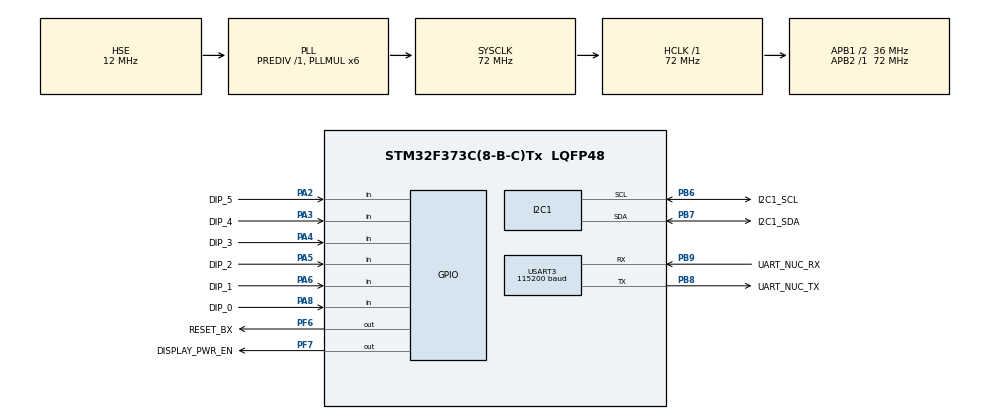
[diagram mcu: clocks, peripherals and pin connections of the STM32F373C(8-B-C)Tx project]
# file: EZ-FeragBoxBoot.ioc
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Mcu.Family=STM32F3
Mcu.Name=STM32F373C(8-B-C)Tx
Mcu.Package=LQFP48
NVIC.PriorityGroup=NVIC_PRIORITYGROUP_4
NVIC.RCC_IRQn=true\:0\:0\:false\:false\:true\:true\:false\:true
NVIC.USART3_IRQn=true\:0\:0\:false\:false\:true\:true\:true\:true
PA13.Mode=Serial_Wire
PA13.Signal=SYS_JTMS-SWDIO
PA14.Mode=Serial_Wire
PA14.Signal=SYS_JTCK-SWCLK
PA2.GPIO_Label=DIP_5
PA2.Signal=GPIO_Input
PA3.GPIO_Label=DIP_4
PA3.Signal=GPIO_Input
PA4.GPIO_Label=DIP_3
PA4.Signal=GPIO_Input
PA5.GPIO_Label=DIP_2
PA5.Signal=GPIO_Input
PA6.GPIO_Label=DIP_1
PA6.Signal=GPIO_Input
PA8.GPIO_Label=DIP_0
PA8.Signal=GPIO_Input
PB6.GPIO_Label=I2C1_SCL
PB6.Mode=I2C
PB6.Signal=I2C1_SCL
PB7.GPIO_Label=I2C1_SDA
PB7.Mode=I2C
PB7.Signal=I2C1_SDA
PB8.GPIO_Label=UART_NUC_TX
PB8.Mode=Asynchronous
PB8.Signal=USART3_TX
PB9.GPIO_Label=UART_NUC_RX
PB9.Mode=Asynchronous
PB9.Signal=USART3_RX
PF0-OSC_IN.Mode=HSE-External-Oscillator
PF0-OSC_IN.Signal=RCC_OSC_IN
PF1-OSC_OUT.Mode=HSE-External-Oscillator
PF1-OSC_OUT.Signal=RCC_OSC_OUT
PF6.GPIO_Label=RESET_BX
PF6.Signal=GPIO_Output
PF7.GPIO_Label=DISPLAY_PWR_EN
PF7.PinState=GPIO_PIN_SET
PF7.Signal=GPIO_Output
ProjectManager.HeapSize=0x200
ProjectManager.StackSize=0x400
ProjectManager.TargetToolchain=STM32CubeIDE
RCC.AHBFreq_Value=72000000
RCC.APB1CLKDivider=RCC_HCLK_DIV2
RCC.APB1Freq_Value=36000000
RCC.APB1TimFreq_Value=72000000
RCC.APB2Freq_Value=72000000
RCC.APB2TimFreq_Value=72000000
RCC.CortexFreq_Value=72000000
RCC.HCLKFreq_Value=72000000
RCC.HSE_VALUE=12000000
RCC.HSI_VALUE=8000000
RCC.LSE_VALUE=32768
RCC.PLLMUL=RCC_PLL_MUL6
RCC.PLLSourceVirtual=RCC_PLLSOURCE_HSE
RCC.PRESCALERUSB=RCC_USBCLKSOURCE_PLL_DIV1_5
RCC.SYSCLKFreq_VALUE=72000000
RCC.SYSCLKSource=RCC_SYSCLKSOURCE_PLLCLK
RCC.USBFreq_Value=48000000
USART3.BaudRate=115200
USART3.VirtualMode-Asynchronous=VM_ASYNC
VP_TIM3_VS_ClockSourceINT.Mode=Internal
board=custom

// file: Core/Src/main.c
/* USER CODE BEGIN Header */
/**
  ******************************************************************************
  * @file           : main.c
  * @brief          : Main program body
  ******************************************************************************
  * @attention
  *
  * Copyright (c) 2024 STMicroelectronics.
  * All rights reserved.
  *
  * This software is licensed under terms that can be found in the LICENSE file
  * in the root directory of this software component.
  * If no LICENSE file comes with this software, it is provided AS-IS.
  *
  ******************************************************************************
  */
/* USER CODE END Header */
#include "main.h"

/* USER CODE BEGIN Includes */
#include <stdarg.h>
#include <stdio.h>
#include "ge_common.h"
#include "term.h"
/* USER CODE END Includes */

I2C_HandleTypeDef hi2c1;

TIM_HandleTypeDef htim3;

UART_HandleTypeDef huart3;

/* USER CODE BEGIN PV */
volatile uint8_t RxDataNUC;

/* USER CODE END PV */

void SystemClock_Config(void);
static void MX_GPIO_Init(void);
static void MX_USART3_UART_Init(void);
static void MX_I2C1_Init(void);
static void MX_TIM3_Init(void);

int main(void)
{

  /* USER CODE BEGIN 1 */
  SCB->VTOR = 0x8000000;
  /* USER CODE END 1 */

  /* MCU Configuration--------------------------------------------------------*/

  /* Reset of all peripherals, Initializes the Flash interface and the Systick. */
  HAL_Init();

  /* Configure the system clock */
  SystemClock_Config();

  /* Initialize all configured peripherals */
  MX_GPIO_Init();
  MX_USART3_UART_Init();
  MX_I2C1_Init();
  MX_TIM3_Init();
  /* USER CODE BEGIN 2 */

  term_init();
  HAL_UART_Receive_IT(&huart3, (uint8_t*)&RxDataNUC, 1);
  __enable_irq();
  nuc_printf("BootLoader Running\n");
  /* USER CODE END 2 */

  /* Infinite loop */
  /* USER CODE BEGIN WHILE */
  int _ticks=0;
  while (1)
  {
    /* USER CODE END WHILE */

    /* USER CODE BEGIN 3 */
	  term_idle();
  }
  /* USER CODE END 3 */
}

void SystemClock_Config(void)
{
  RCC_OscInitTypeDef RCC_OscInitStruct = {0};
  RCC_ClkInitTypeDef RCC_ClkInitStruct = {0};
  RCC_PeriphCLKInitTypeDef PeriphClkInit = {0};

  /** Initializes the RCC Oscillators according to the specified parameters
  * in the RCC_OscInitTypeDef structure.
  */
  RCC_OscInitStruct.OscillatorType = RCC_OSCILLATORTYPE_HSI|RCC_OSCILLATORTYPE_HSE;
  RCC_OscInitStruct.HSEState = RCC_HSE_ON;
  RCC_OscInitStruct.HSEPredivValue = RCC_HSE_PREDIV_DIV1;
  RCC_OscInitStruct.HSIState = RCC_HSI_ON;
  RCC_OscInitStruct.HSICalibrationValue = RCC_HSICALIBRATION_DEFAULT;
  RCC_OscInitStruct.PLL.PLLState = RCC_PLL_ON;
  RCC_OscInitStruct.PLL.PLLSource = RCC_PLLSOURCE_HSE;
  RCC_OscInitStruct.PLL.PLLMUL = RCC_PLL_MUL6;
  if (HAL_RCC_OscConfig(&RCC_OscInitStruct) != HAL_OK)
  {
    Error_Handler();
  }

  /** Initializes the CPU, AHB and APB buses clocks
  */
  RCC_ClkInitStruct.ClockType = RCC_CLOCKTYPE_HCLK|RCC_CLOCKTYPE_SYSCLK
                              |RCC_CLOCKTYPE_PCLK1|RCC_CLOCKTYPE_PCLK2;
  RCC_ClkInitStruct.SYSCLKSource = RCC_SYSCLKSOURCE_PLLCLK;
  RCC_ClkInitStruct.AHBCLKDivider = RCC_SYSCLK_DIV1;
  RCC_ClkInitStruct.APB1CLKDivider = RCC_HCLK_DIV2;
  RCC_ClkInitStruct.APB2CLKDivider = RCC_HCLK_DIV1;

  if (HAL_RCC_ClockConfig(&RCC_ClkInitStruct, FLASH_LATENCY_2) != HAL_OK)
  {
    Error_Handler();
  }
  PeriphClkInit.PeriphClockSelection = RCC_PERIPHCLK_USART3|RCC_PERIPHCLK_I2C1;
  PeriphClkInit.Usart3ClockSelection = RCC_USART3CLKSOURCE_PCLK1;
  PeriphClkInit.I2c1ClockSelection = RCC_I2C1CLKSOURCE_HSI;
  if (HAL_RCCEx_PeriphCLKConfig(&PeriphClkInit) != HAL_OK)
  {
    Error_Handler();
  }
}

static void MX_I2C1_Init(void)
{

  hi2c1.Instance = I2C1;
  hi2c1.Init.Timing = 0x2000090E;
  hi2c1.Init.OwnAddress1 = 0;
  hi2c1.Init.AddressingMode = I2C_ADDRESSINGMODE_7BIT;
  hi2c1.Init.DualAddressMode = I2C_DUALADDRESS_DISABLE;
  hi2c1.Init.OwnAddress2 = 0;
  hi2c1.Init.OwnAddress2Masks = I2C_OA2_NOMASK;
  hi2c1.Init.GeneralCallMode = I2C_GENERALCALL_DISABLE;
  hi2c1.Init.NoStretchMode = I2C_NOSTRETCH_DISABLE;
  if (HAL_I2C_Init(&hi2c1) != HAL_OK)
  {
    Error_Handler();
  }

  /** Configure Analogue filter
  */
  if (HAL_I2CEx_ConfigAnalogFilter(&hi2c1, I2C_ANALOGFILTER_ENABLE) != HAL_OK)
  {
    Error_Handler();
  }

  /** Configure Digital filter
  */
  if (HAL_I2CEx_ConfigDigitalFilter(&hi2c1, 0) != HAL_OK)
  {
    Error_Handler();
  }

}

static void MX_TIM3_Init(void)
{

  TIM_ClockConfigTypeDef sClockSourceConfig = {0};
  TIM_MasterConfigTypeDef sMasterConfig = {0};

  htim3.Instance = TIM3;
  htim3.Init.Prescaler = 0;
  htim3.Init.CounterMode = TIM_COUNTERMODE_UP;
  htim3.Init.Period = 65535;
  htim3.Init.ClockDivision = TIM_CLOCKDIVISION_DIV1;
  htim3.Init.AutoReloadPreload = TIM_AUTORELOAD_PRELOAD_DISABLE;
  if (HAL_TIM_Base_Init(&htim3) != HAL_OK)
  {
    Error_Handler();
  }
  sClockSourceConfig.ClockSource = TIM_CLOCKSOURCE_INTERNAL;
  if (HAL_TIM_ConfigClockSource(&htim3, &sClockSourceConfig) != HAL_OK)
  {
    Error_Handler();
  }
  sMasterConfig.MasterOutputTrigger = TIM_TRGO_RESET;
  sMasterConfig.MasterSlaveMode = TIM_MASTERSLAVEMODE_DISABLE;
  if (HAL_TIMEx_MasterConfigSynchronization(&htim3, &sMasterConfig) != HAL_OK)
  {
    Error_Handler();
  }
  /* USER CODE BEGIN TIM3_Init 2 */
	if (HAL_TIM_Base_Start_IT(&htim3) != HAL_OK) {
		Error_Handler();
	}
	HAL_TIM_Base_Start(&htim3);
  /* USER CODE END TIM3_Init 2 */

}

static void MX_USART3_UART_Init(void)
{

  huart3.Instance = USART3;
  huart3.Init.BaudRate = 115200;
  huart3.Init.WordLength = UART_WORDLENGTH_8B;
  huart3.Init.StopBits = UART_STOPBITS_1;
  huart3.Init.Parity = UART_PARITY_NONE;
  huart3.Init.Mode = UART_MODE_TX_RX;
  huart3.Init.HwFlowCtl = UART_HWCONTROL_NONE;
  huart3.Init.OverSampling = UART_OVERSAMPLING_16;
  huart3.Init.OneBitSampling = UART_ONE_BIT_SAMPLE_DISABLE;
  huart3.AdvancedInit.AdvFeatureInit = UART_ADVFEATURE_NO_INIT;
  if (HAL_UART_Init(&huart3) != HAL_OK)
  {
    Error_Handler();
  }

}

static void MX_GPIO_Init(void)
{
  GPIO_InitTypeDef GPIO_InitStruct = {0};

  /* GPIO Ports Clock Enable */
  __HAL_RCC_GPIOF_CLK_ENABLE();
  __HAL_RCC_GPIOA_CLK_ENABLE();
  __HAL_RCC_GPIOB_CLK_ENABLE();

  /*Configure GPIO pin Output Level */
  HAL_GPIO_WritePin(RESET_BX_GPIO_Port, RESET_BX_Pin, GPIO_PIN_RESET);

  /*Configure GPIO pin Output Level */
  HAL_GPIO_WritePin(DISPLAY_PWR_EN_GPIO_Port, DISPLAY_PWR_EN_Pin, GPIO_PIN_SET);

  /*Configure GPIO pins : DIP_5_Pin DIP_4_Pin DIP_3_Pin DIP_2_Pin
                           DIP_1_Pin DIP_0_Pin */
  GPIO_InitStruct.Pin = DIP_5_Pin|DIP_4_Pin|DIP_3_Pin|DIP_2_Pin
                          |DIP_1_Pin|DIP_0_Pin;
  GPIO_InitStruct.Mode = GPIO_MODE_INPUT;
  GPIO_InitStruct.Pull = GPIO_NOPULL;
  HAL_GPIO_Init(GPIOA, &GPIO_InitStruct);

  /*Configure GPIO pins : RESET_BX_Pin DISPLAY_PWR_EN_Pin */
  GPIO_InitStruct.Pin = RESET_BX_Pin|DISPLAY_PWR_EN_Pin;
  GPIO_InitStruct.Mode = GPIO_MODE_OUTPUT_PP;
  GPIO_InitStruct.Pull = GPIO_NOPULL;
  GPIO_InitStruct.Speed = GPIO_SPEED_FREQ_LOW;
  HAL_GPIO_Init(GPIOF, &GPIO_InitStruct);

}

/* USER CODE BEGIN 4 */

//--- _jump_to -----------------------------------------------
void jump_to(UINT32 addr)
{
	//--- IMPORTANT: DeInit all devices! --------------------------
	HAL_RCC_DeInit();
	HAL_UART_DeInit(&huart3);
	HAL_TIM_Base_DeInit(&htim3);
	HAL_DeInit();
	__set_PRIMASK(1);
	__disable_irq();

	SysTick->CTRL = 0;
	SysTick->LOAD = 0;
	SysTick->VAL = 0;

	UINT32 *vtab = (UINT32*) addr;
	SCB->VTOR = addr;
	typedef int(*start_fct)	(void);
	__set_MSP(vtab[0]);
	start_fct start;
	start = (start_fct)vtab[1];
	__enable_irq();
	start();
}

//--- nuc_printf --------------------------------------------
void nuc_printf (const char *format, ...)
{
	static char buf[256];

	va_list args;
	va_start(args, format);
	int len = vsprintf(buf, format, args);
	va_end(args);
	HAL_UART_Transmit(&huart3, (const uint8_t *)buf, len, 100); // NUC
}

// UART RX Interrupt function override
void HAL_UART_RxCpltCallback(UART_HandleTypeDef *huart)
{
	if (huart->Instance == USART3)
	{
		term_handle_char(RxDataNUC);
		HAL_UART_Receive_IT(&huart3, (uint8_t*)&RxDataNUC, 1);
	}
}

/* USER CODE END 4 */

void Error_Handler(void)
{
  __disable_irq();
  while (1)
  {
  }
}
